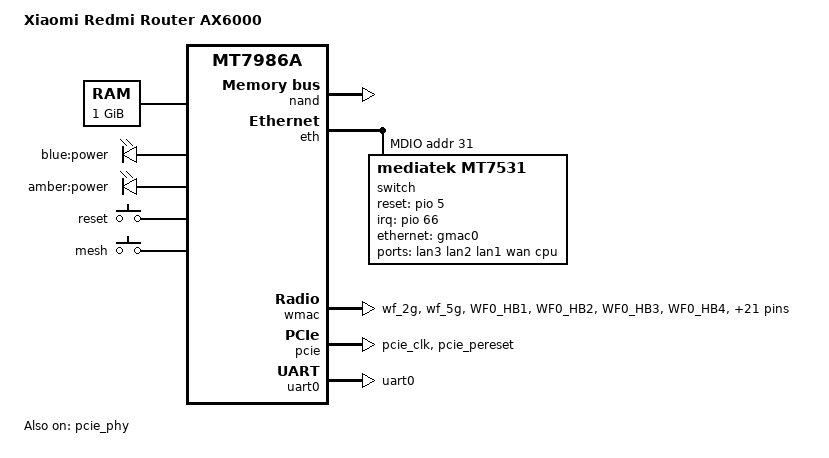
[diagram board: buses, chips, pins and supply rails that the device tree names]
// SPDX-License-Identifier: (GPL-2.0-only OR MIT)
/dts-v1/;

#include <dt-bindings/input/input.h>
#include <dt-bindings/gpio/gpio.h>

#include "mt7986a.dtsi"

/ {
	model = "Xiaomi Redmi Router AX6000";
	compatible = "xiaomi,redmi-router-ax6000", "mediatek,mt7986a";

    aliases {
        serial0 = &uart0;
        led-boot = &led_power_amber;
        led-failsafe = &led_power_amber;
        led_running = &led_power_blue;
        led-upgrade = &led_power_blue;
    };

	chosen {
        stdout-path = "serial0:115200n8";
		bootargs = "earlycon=uart8250,0x11002000 console=ttyS0,115200n8 swiotlb=512";
	};

	memory@40000000 {
        device_type = "memory";
        reg = <0 0x40000000 0 0x40000000>;
	};

    leds {
        compatible = "gpio-leds";

        led_power_blue: blue {
            label = "blue:power";
            //gpios = <&pio 69 GPIO_ACTIVE_HIGH>;
        };

        led_power_amber: amber {
            label = "amber:power";
            //gpios = <&pio 86 GPIO_ACTIVE_HIGH>;
        };
    };

    keys {
        compatible = "gpio-keys";

        reset {
            label = "reset";
            //gpios = <&pio 0 GPIO_ACTIVE_LOW>;
            linux,code = <KEY_RESTART>;
        };
        
        mesh {
            label = "mesh";
            //gpios  = <&pio 1 GPIO_ACTIVE_LOW>;
            linux,code = <BTN_9>;
            linux,input-type = <EV_SW>;
        };
    };

    nand {
        status = "okay";
        mediatek,nmbm;

        partitions {
            compatible = "fixed-partitions";
            #address-cells = <1>;
            #size-cells = <1>;

            partition@0 {
                label = "BL2";
                reg = <0x0 0x100000>;
                read-only;
            };

            partition@100000 {
                label = "Nvram";
                reg = <0x100000 0x40000>;
                read-only;
            };

            partition@140000 {
                label = "Bdata";
                reg = <0x140000 0x40000>;
                read-only;
            };

            factory: partition@180000 {
                label = "factory";
                reg = <0x180000 0x200000>;
                read-only;

                compatible = "nvmem-cells";
                #address-cells = <1>;
                #size-cells = <1>;

                macaddr_factory_4: macaddr@4 {
                    reg = <0x4 0x6>;
                };
            };

            partition@380000 {
                label = "FIP";
                reg = <0x380000 0x200000>;
            };

            partition@580000 {
                label = "crash";
                reg = <0x580000 0x40000>;
                read-only;
            };

            partition@5c0000 {
                label = "crash_log";
                reg = <0x5c0000 0x40000>;
                read-only;
            };

            /* Unsure why Xiaomi didn't expand this to 0x8000000
             * Compressed ubi fs and overly down
             */
            partition@600000 {
                label = "ubi";
                reg = <0x600000 0x6e00000>;
            };
        };
    };
};

&eth {
    status = "okay";

    gmac0: mac@0 {
        compatible = "mediatek,eth-mac";
        reg = <0>;
        phy-mode = "2500base-x";

        nvmem-cells = <&macaddr_factory_4>;
        nvmem-cell-names = "mac-address";
        mac-address-increment = <(-1)>;

        fixed-link {
            speed = <2500>;
            full-duplex;
            pause;
        };
    };

    mdio: mdio-bus {
        #address-cells = <1>;
        #size-cells = <0>;
    };
};

&mdio {
    switch: switch@0 {
        compatible = "mediatek,mt7531";
        reg = <31>;
        reset-gpios = <&pio 5 GPIO_ACTIVE_HIGH>;
        interrupt-controller;
        #interrupt-cells = <1>;
        interrupt-parent = <&pio>;
        interrupts = <66 IRQ_TYPE_LEVEL_HIGH>;
    };
};

&switch {
    ports {
        #address-cells = <1>;
        #size-cells = <0>;

        port@1 {
            reg = <1>;
            label = "lan3";
        };

        port@2 {
            reg = <2>;
            label = "lan2";
        };

        port@3 {
            reg = <3>;
            label = "lan1";
        };

        wan: port@4 {
            reg = <4>;
            label = "wan";
        };

        port@6 {
            reg = <6>;
            label = "cpu";
            ethernet = <&gmac0>;
            phy-mode = "2500base-x";

            fixed-link {
                speed = <2500>;
                full-duplex;
                pause;
            };
        };
    };
};

&wmac {
	status = "okay";

	mediatek,mtd-eeprom = <&factory 0x0>;
	pinctrl-names = "default", "dbdc";
	pinctrl-0 = <&wf_2g_5g_pins>;
	pinctrl-1 = <&wf_dbdc_pins>;
};

&pio {
    pcie_pins: pcie-pins {
        mux {
            function = "pcie";
            groups = "pcie_clk", "pcie_pereset";
        };
    };

    uart0_pins: uart0-pins {
        mux {
            function = "uart";
            groups = "uart0";
        };
    };
	wf_2g_5g_pins: wf-2g-5g-pins {
		mux {
			function = "wifi";
			groups = "wf_2g", "wf_5g";
		};
		conf {
			pins = "WF0_HB1", "WF0_HB2", "WF0_HB3", "WF0_HB4",
			       "WF0_HB0", "WF0_HB0_B", "WF0_HB5", "WF0_HB6",
			       "WF0_HB7", "WF0_HB8", "WF0_HB9", "WF0_HB10",
			       "WF0_TOP_CLK", "WF0_TOP_DATA", "WF1_HB1",
			       "WF1_HB2", "WF1_HB3", "WF1_HB4", "WF1_HB0",
			       "WF1_HB5", "WF1_HB6", "WF1_HB7", "WF1_HB8",
			       "WF1_TOP_CLK", "WF1_TOP_DATA";
			drive-strength = <4>;
		};
	};

	wf_dbdc_pins: wf-dbdc-pins {
		mux {
			function = "wifi";
			groups = "wf_dbdc";
		};
		conf {
			pins = "WF0_HB1", "WF0_HB2", "WF0_HB3", "WF0_HB4",
			       "WF0_HB0", "WF0_HB0_B", "WF0_HB5", "WF0_HB6",
			       "WF0_HB7", "WF0_HB8", "WF0_HB9", "WF0_HB10",
			       "WF0_TOP_CLK", "WF0_TOP_DATA", "WF1_HB1",
			       "WF1_HB2", "WF1_HB3", "WF1_HB4", "WF1_HB0",
			       "WF1_HB5", "WF1_HB6", "WF1_HB7", "WF1_HB8",
			       "WF1_TOP_CLK", "WF1_TOP_DATA";
			drive-strength = <4>;
		};
	};
};

&pcie {
    pinctrl-names = "default";
    pinctrl-0 = <&pcie_pins>;
    status = "okay";
};

&pcie_phy {
    status = "okay";
};

&uart0 {
    pinctrl-names = "default";
    pinctrl-0 = <&uart0_pins>;
    status = "okay";
};
